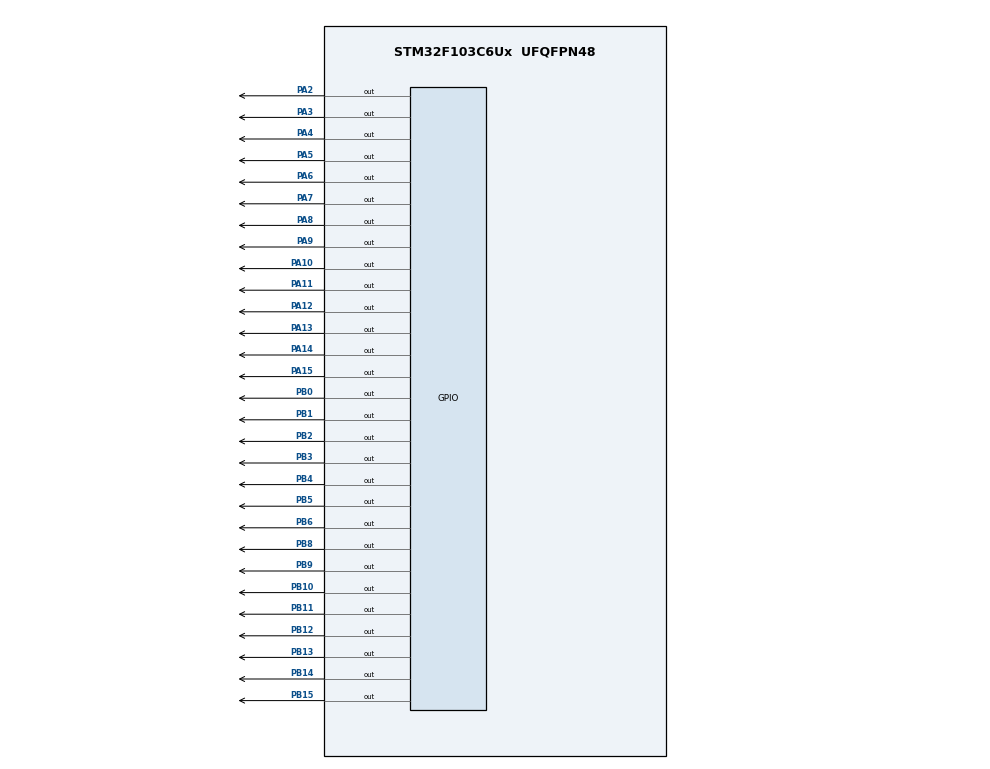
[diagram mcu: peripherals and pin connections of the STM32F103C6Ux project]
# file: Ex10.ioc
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Mcu.Family=STM32F1
Mcu.Name=STM32F103C6Ux
Mcu.Package=UFQFPN48
NVIC.PriorityGroup=NVIC_PRIORITYGROUP_4
NVIC.TIM2_IRQn=true\:0\:0\:false\:false\:true\:true\:true
PA10.Signal=GPIO_Output
PA11.Signal=GPIO_Output
PA12.Signal=GPIO_Output
PA13.Signal=GPIO_Output
PA14.Signal=GPIO_Output
PA15.Signal=GPIO_Output
PA2.Signal=GPIO_Output
PA3.Signal=GPIO_Output
PA4.Signal=GPIO_Output
PA5.Signal=GPIO_Output
PA6.Signal=GPIO_Output
PA7.Signal=GPIO_Output
PA8.Signal=GPIO_Output
PA9.Signal=GPIO_Output
PB0.Signal=GPIO_Output
PB1.Signal=GPIO_Output
PB10.Signal=GPIO_Output
PB11.Signal=GPIO_Output
PB12.Signal=GPIO_Output
PB13.Signal=GPIO_Output
PB14.Signal=GPIO_Output
PB15.Signal=GPIO_Output
PB2.Signal=GPIO_Output
PB3.Signal=GPIO_Output
PB4.Signal=GPIO_Output
PB5.Signal=GPIO_Output
PB6.Signal=GPIO_Output
PB8.Signal=GPIO_Output
PB9.Signal=GPIO_Output
ProjectManager.HeapSize=0x200
ProjectManager.StackSize=0x400
ProjectManager.TargetToolchain=STM32CubeIDE
RCC.APB1Freq_Value=8000000
RCC.APB2Freq_Value=8000000
TIM2.Period=9
TIM2.Prescaler=7999
VP_SYS_VS_ND.Mode=No_Debug
VP_TIM2_VS_ClockSourceINT.Mode=Internal
board=custom

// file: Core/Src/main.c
/* USER CODE BEGIN Header */
/**
  ******************************************************************************
  * @file           : main.c
  * @brief          : Main program body
  ******************************************************************************
  * @attention
  *
  * <h2><center>&copy; Copyright (c) 2022 STMicroelectronics.
  * All rights reserved.</center></h2>
  *
  * This software component is licensed by ST under BSD 3-Clause license,
  * the "License"; You may not use this file except in compliance with the
  * License. You may obtain a copy of the License at:
  *                        opensource.org/licenses/BSD-3-Clause
  *
  ******************************************************************************
  */
/* USER CODE END Header */
#include "main.h"

/* USER CODE BEGIN Includes */
#include "software_timer.h"
/* USER CODE END Includes */

TIM_HandleTypeDef htim2;

void SystemClock_Config(void);
static void MX_GPIO_Init(void);
static void MX_TIM2_Init(void);

/* USER CODE BEGIN 0 */
void display_col(int num){ //assign value for column
	HAL_GPIO_WritePin(GPIOA,GPIO_PIN_2,(num>>0)&0x01);
	HAL_GPIO_WritePin(GPIOA,GPIO_PIN_3,(num>>1)&0x01);
	HAL_GPIO_WritePin(GPIOA,GPIO_PIN_10,(num>>2)&0x01);
	HAL_GPIO_WritePin(GPIOA,GPIO_PIN_11,(num>>3)&0x01);
	HAL_GPIO_WritePin(GPIOA,GPIO_PIN_12,(num>>4)&0x01);
	HAL_GPIO_WritePin(GPIOA,GPIO_PIN_13,(num>>5)&0x01);
	HAL_GPIO_WritePin(GPIOA,GPIO_PIN_14,(num>>6)&0x01);
	HAL_GPIO_WritePin(GPIOA,GPIO_PIN_15,(num>>7)&0x01);
}
void display_row(int num){ //assign value for row
	HAL_GPIO_WritePin(GPIOB,GPIO_PIN_8,(num>>0)&0x01);
	HAL_GPIO_WritePin(GPIOB,GPIO_PIN_9,(num>>1)&0x01);
	HAL_GPIO_WritePin(GPIOB,GPIO_PIN_10,(num>>2)&0x01);
	HAL_GPIO_WritePin(GPIOB,GPIO_PIN_11,(num>>3)&0x01);
	HAL_GPIO_WritePin(GPIOB,GPIO_PIN_12,(num>>4)&0x01);
	HAL_GPIO_WritePin(GPIOB,GPIO_PIN_13,(num>>5)&0x01);
	HAL_GPIO_WritePin(GPIOB,GPIO_PIN_14,(num>>6)&0x01);
	HAL_GPIO_WritePin(GPIOB,GPIO_PIN_15,(num>>7)&0x01);
}

const int MAX_LED_MATRIX = 8;
int index_led_matrix = 0;
uint8_t matrixbuffer[8] = {0xFF,0x03,0x01,0xED,0xED,0x01,0x03,0xFF};//value of buffer to display "A"
void updateLEDMatrix(int index){
	switch(index){
		case 0:
			display_row(matrixbuffer[index]);
			break;
		case 1:
			display_row(matrixbuffer[index]);
			break;
		case 2:
			display_row(matrixbuffer[index]);
			break;
		case 3:
			display_row(matrixbuffer[index]);
			break;
		case 4:
			display_row(matrixbuffer[index]);
			break;
		case 5:
			display_row(matrixbuffer[index]);
			break;
		case 6:
			display_row(matrixbuffer[index]);
			break;
		case 7:
			display_row(matrixbuffer[index]);
			break;
		default:
			break;
	}
}
/* USER CODE END 0 */

int main(void)
{

  /* MCU Configuration--------------------------------------------------------*/

  /* Reset of all peripherals, Initializes the Flash interface and the Systick. */
  HAL_Init();

  /* Configure the system clock */
  SystemClock_Config();

  /* Initialize all configured peripherals */
  MX_GPIO_Init();
  MX_TIM2_Init();
  /* USER CODE BEGIN 2 */
  HAL_TIM_Base_Start_IT(&htim2);
  /* USER CODE END 2 */

  /* Infinite loop */
  /* USER CODE BEGIN WHILE */
  int j = 0;
  setTimer(10);
  while (1)
  {
	  if(timer_flag){
		  setTimer(10);
		  if(index_led_matrix == 0){
			  j = (j+1)%8;
		  }
		  display_col(0xff); //clear Led Matrix
		  updateLEDMatrix((index_led_matrix+j)%8); //each
		  display_col((0xf7f>>index_led_matrix)); //turn on column in position index_led_matrix
		  index_led_matrix = (index_led_matrix+1)%8; //increase index column
	  }
    /* USER CODE END WHILE */

  }
}

void SystemClock_Config(void)
{
  RCC_OscInitTypeDef RCC_OscInitStruct = {0};
  RCC_ClkInitTypeDef RCC_ClkInitStruct = {0};

  /** Initializes the RCC Oscillators according to the specified parameters
  * in the RCC_OscInitTypeDef structure.
  */
  RCC_OscInitStruct.OscillatorType = RCC_OSCILLATORTYPE_HSI;
  RCC_OscInitStruct.HSIState = RCC_HSI_ON;
  RCC_OscInitStruct.HSICalibrationValue = RCC_HSICALIBRATION_DEFAULT;
  RCC_OscInitStruct.PLL.PLLState = RCC_PLL_NONE;
  if (HAL_RCC_OscConfig(&RCC_OscInitStruct) != HAL_OK)
  {
    Error_Handler();
  }
  /** Initializes the CPU, AHB and APB buses clocks
  */
  RCC_ClkInitStruct.ClockType = RCC_CLOCKTYPE_HCLK|RCC_CLOCKTYPE_SYSCLK
                              |RCC_CLOCKTYPE_PCLK1|RCC_CLOCKTYPE_PCLK2;
  RCC_ClkInitStruct.SYSCLKSource = RCC_SYSCLKSOURCE_HSI;
  RCC_ClkInitStruct.AHBCLKDivider = RCC_SYSCLK_DIV1;
  RCC_ClkInitStruct.APB1CLKDivider = RCC_HCLK_DIV1;
  RCC_ClkInitStruct.APB2CLKDivider = RCC_HCLK_DIV1;

  if (HAL_RCC_ClockConfig(&RCC_ClkInitStruct, FLASH_LATENCY_0) != HAL_OK)
  {
    Error_Handler();
  }
}

static void MX_TIM2_Init(void)
{

  TIM_ClockConfigTypeDef sClockSourceConfig = {0};
  TIM_MasterConfigTypeDef sMasterConfig = {0};

  htim2.Instance = TIM2;
  htim2.Init.Prescaler = 7999;
  htim2.Init.CounterMode = TIM_COUNTERMODE_UP;
  htim2.Init.Period = 9;
  htim2.Init.ClockDivision = TIM_CLOCKDIVISION_DIV1;
  htim2.Init.AutoReloadPreload = TIM_AUTORELOAD_PRELOAD_DISABLE;
  if (HAL_TIM_Base_Init(&htim2) != HAL_OK)
  {
    Error_Handler();
  }
  sClockSourceConfig.ClockSource = TIM_CLOCKSOURCE_INTERNAL;
  if (HAL_TIM_ConfigClockSource(&htim2, &sClockSourceConfig) != HAL_OK)
  {
    Error_Handler();
  }
  sMasterConfig.MasterOutputTrigger = TIM_TRGO_RESET;
  sMasterConfig.MasterSlaveMode = TIM_MASTERSLAVEMODE_DISABLE;
  if (HAL_TIMEx_MasterConfigSynchronization(&htim2, &sMasterConfig) != HAL_OK)
  {
    Error_Handler();
  }

}

static void MX_GPIO_Init(void)
{
  GPIO_InitTypeDef GPIO_InitStruct = {0};

  /* GPIO Ports Clock Enable */
  __HAL_RCC_GPIOA_CLK_ENABLE();
  __HAL_RCC_GPIOB_CLK_ENABLE();

  /*Configure GPIO pin Output Level */
  HAL_GPIO_WritePin(GPIOA, GPIO_PIN_2|GPIO_PIN_3|GPIO_PIN_4|GPIO_PIN_5
                          |GPIO_PIN_6|GPIO_PIN_7|GPIO_PIN_8|GPIO_PIN_9
                          |GPIO_PIN_10|GPIO_PIN_11|GPIO_PIN_12|GPIO_PIN_13
                          |GPIO_PIN_14|GPIO_PIN_15, GPIO_PIN_RESET);

  /*Configure GPIO pin Output Level */
  HAL_GPIO_WritePin(GPIOB, GPIO_PIN_0|GPIO_PIN_1|GPIO_PIN_2|GPIO_PIN_10
                          |GPIO_PIN_11|GPIO_PIN_12|GPIO_PIN_13|GPIO_PIN_14
                          |GPIO_PIN_15|GPIO_PIN_3|GPIO_PIN_4|GPIO_PIN_5
                          |GPIO_PIN_6|GPIO_PIN_8|GPIO_PIN_9, GPIO_PIN_RESET);

  /*Configure GPIO pins : PA2 PA3 PA4 PA5
                           PA6 PA7 PA8 PA9
                           PA10 PA11 PA12 PA13
                           PA14 PA15 */
  GPIO_InitStruct.Pin = GPIO_PIN_2|GPIO_PIN_3|GPIO_PIN_4|GPIO_PIN_5
                          |GPIO_PIN_6|GPIO_PIN_7|GPIO_PIN_8|GPIO_PIN_9
                          |GPIO_PIN_10|GPIO_PIN_11|GPIO_PIN_12|GPIO_PIN_13
                          |GPIO_PIN_14|GPIO_PIN_15;
  GPIO_InitStruct.Mode = GPIO_MODE_OUTPUT_PP;
  GPIO_InitStruct.Pull = GPIO_NOPULL;
  GPIO_InitStruct.Speed = GPIO_SPEED_FREQ_LOW;
  HAL_GPIO_Init(GPIOA, &GPIO_InitStruct);

  /*Configure GPIO pins : PB0 PB1 PB2 PB10
                           PB11 PB12 PB13 PB14
                           PB15 PB3 PB4 PB5
                           PB6 PB8 PB9 */
  GPIO_InitStruct.Pin = GPIO_PIN_0|GPIO_PIN_1|GPIO_PIN_2|GPIO_PIN_10
                          |GPIO_PIN_11|GPIO_PIN_12|GPIO_PIN_13|GPIO_PIN_14
                          |GPIO_PIN_15|GPIO_PIN_3|GPIO_PIN_4|GPIO_PIN_5
                          |GPIO_PIN_6|GPIO_PIN_8|GPIO_PIN_9;
  GPIO_InitStruct.Mode = GPIO_MODE_OUTPUT_PP;
  GPIO_InitStruct.Pull = GPIO_NOPULL;
  GPIO_InitStruct.Speed = GPIO_SPEED_FREQ_LOW;
  HAL_GPIO_Init(GPIOB, &GPIO_InitStruct);

}

/* USER CODE BEGIN 4 */
void HAL_TIM_PeriodElapsedCallback(TIM_HandleTypeDef *htim){
	timerRun();
}
/* USER CODE END 4 */

void Error_Handler(void)
{
  __disable_irq();
  while (1)
  {
  }
}

/************************ (C) COPYRIGHT STMicroelectronics *****END OF FILE****/
